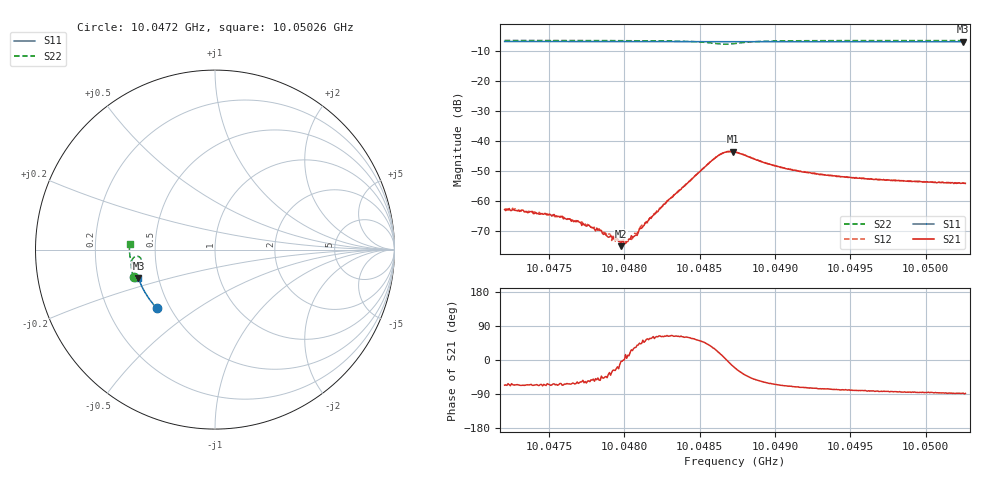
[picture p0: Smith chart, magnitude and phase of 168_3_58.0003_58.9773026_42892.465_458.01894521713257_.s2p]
#  HZ  S  RI  R  50.00
! Rohde & Schwarz Vector Network Analyzer
! Rohde-Schwarz,ZNB20-2Port,1311601062101988,3.16
! Created: UTC 3/21/2024, 12:57:49 AM
! freq[Hz]  re:S11  im:S11  re:S21  im:S21  re:S12  im:S12  re:S22  im:S22
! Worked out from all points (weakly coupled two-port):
!   401 points, 10.0472 GHz to 10.05026 GHz, reference 50 ohm
!   highest |S21| = -43.42 dB at 10.04872 GHz (marker M1); lowest = -74.9 dB at 10.04798 GHz (marker M2)
!   lowest |S11| = -6.8 dB at 10.05025 GHz (marker M3), VSWR 2.67, Z = 19.2 - j7.65 ohm
!   |S11| at or under -10 dB: nowhere
!   |S22| runs from -7.7 to -6.4 dB; largest |S21 - S12| = 0.00045
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1.0047204e10  -0.323 -0.328  0.000292 -0.000669  0.000344 -0.000667  -0.454 -0.1529
1.0047517e10  -0.337 -0.3126  0.000232 -0.000517  0.000296 -0.00051  -0.4601 -0.1316
1.0047716e10  -0.3456 -0.3025  0.000214 -0.000334  0.000264 -0.000371  -0.4629 -0.1173
1.0047831e10  -0.3504 -0.2965  0.0002 -0.000266  0.000245 -0.000248  -0.4644 -0.1086
1.0047877e10  -0.3522 -0.2942  0.000198 -0.000188  0.000228 -0.000181  -0.465 -0.1053
1.0047931e10  -0.3544 -0.2914  0.000229 -0.000115  0.000216 -8.44e-05  -0.4654 -0.101
1.0047977e10  -0.3562 -0.2889  0.000179 -1.22e-05  0.000218 -1.43e-05  -0.4661 -0.0974
1.0048007e10  -0.3576 -0.2873  0.000194 4.92e-05  0.000206 4.18e-05  -0.4663 -0.095
1.0048038e10  -0.3588 -0.2856  0.000219 8.09e-05  0.000223 9.65e-05  -0.4665 -0.0923
1.0048076e10  -0.3603 -0.2837  0.00023 0.000151  0.000216 0.00019  -0.4668 -0.0889
1.0048114e10  -0.3616 -0.2818  0.000257 0.000247  0.000261 0.000304  -0.4669 -0.0857
1.0048152e10  -0.3633 -0.2797  0.000258 0.000382  0.000246 0.000362  -0.4668 -0.0821
1.0048229e10  -0.3662 -0.2755  0.000326 0.000656  0.000327 0.000684  -0.4663 -0.0747
1.0048596e10  -0.3793 -0.255  0.00446 0.00259  0.00432 0.00285  -0.4266 -0.0383
1.0048665e10  -0.3814 -0.2513  0.0065 0.000602  0.00649 0.00101  -0.4103 -0.056
1.0048719e10  -0.3832 -0.2486  0.0065 -0.00182  0.00662 -0.00142  -0.4143 -0.0758
1.0048734e10  -0.3838 -0.2478  0.00617 -0.0024  0.00634 -0.002  -0.4182 -0.08
1.0049002e10  -0.3931 -0.2328  0.00169 -0.00349  0.00192 -0.00344  -0.4648 -0.0668
1.0049247e10  -0.4009 -0.2184  0.000788 -0.00281  0.000961 -0.0028  -0.4732 -0.0429
1.0049759e10  -0.4152 -0.1879  0.000239 -0.00226  0.000405 -0.00224  -0.4767 -0.0028
1.0050249e10  -0.4267 -0.1576  9.14e-05 -0.002  0.000143 -0.00201  -0.4757 0.0316
1.0050264e10  -0.4271 -0.1568  5.81e-05 -0.00199  0.000157 -0.00202  -0.4757 0.0326
